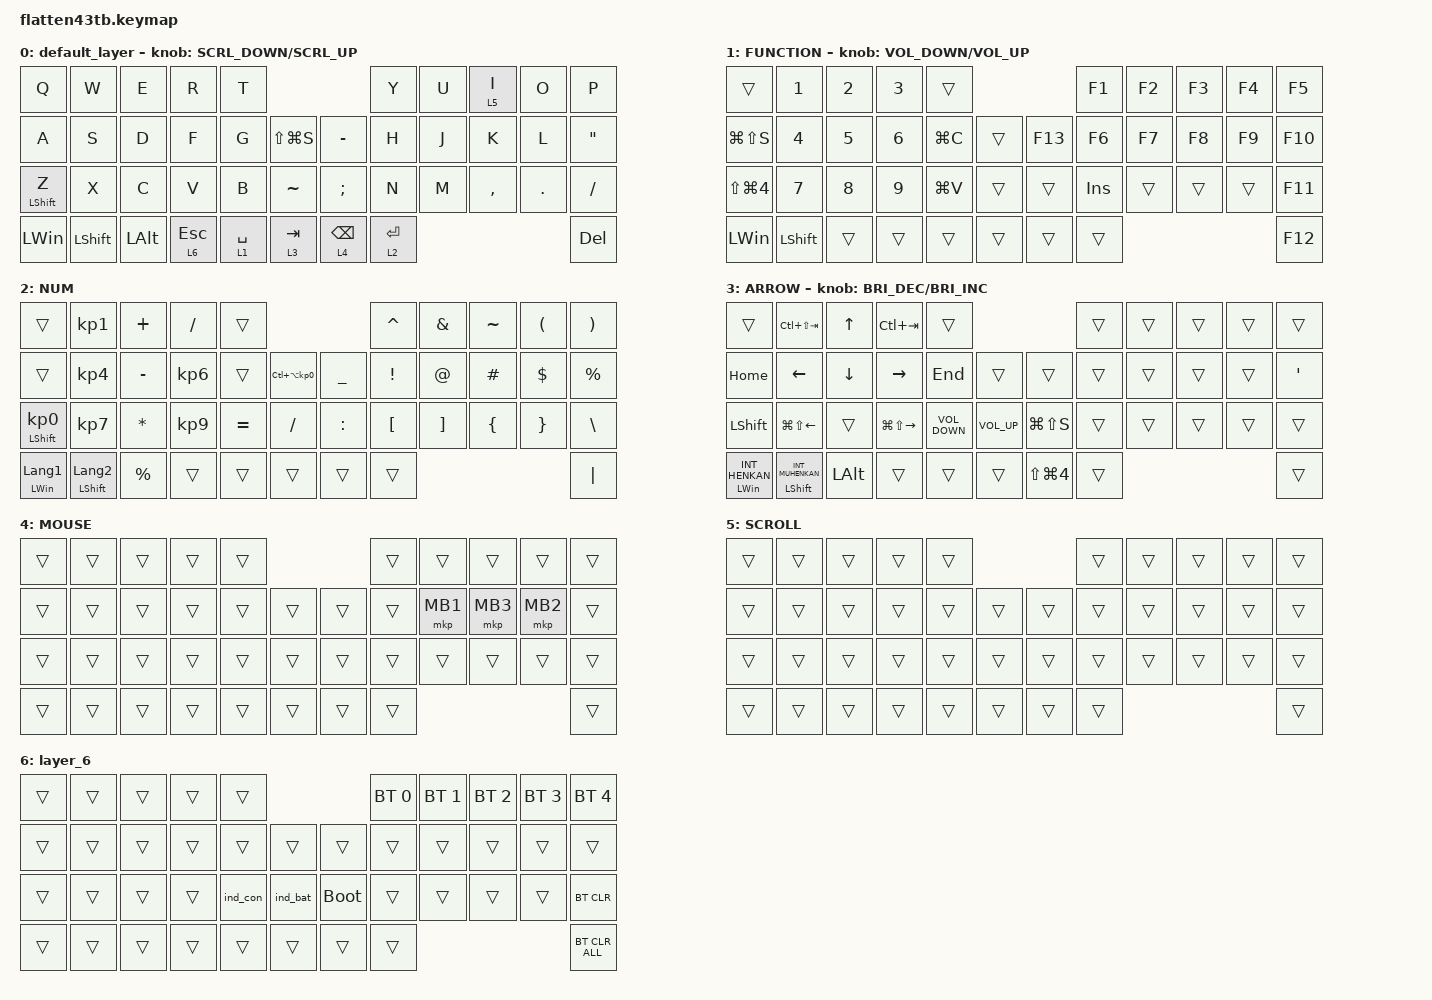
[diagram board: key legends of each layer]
#define ZMK_POINTING_DEFAULT_SCRL_VAL 150

#include <behaviors/rgbled_widget.dtsi>
#include <dt-bindings/zmk/input_transform.h>
#include <input/processors.dtsi>
#include <zephyr/dt-bindings/input/input-event-codes.h>
#include <behaviors.dtsi>
#include <dt-bindings/zmk/bt.h>
#include <dt-bindings/zmk/keys.h>
#include <dt-bindings/zmk/pointing.h>

&mt {
    flavor = "balanced";
    quick-tap-ms = <0>;
};

&mmv {
    delay-ms = <20>;
    trigger-period-ms = <5>;
    time-to-max-speed-ms = <100>;
    acceleration-exponent = <2>;
};

&msc {
    delay-ms = <3>;
    trigger-period-ms = <3>;
    time-to-max-speed-ms = <100>;
    acceleration-exponent = <0>;
};

/ {
    input_processors {
        zip_wheel_scaler: zip_wheel_scaler {
            compatible = "zmk,input-processor-scaler";
            #input-processor-cells = <2>;
            type = <INPUT_EV_REL>;
            codes = <INPUT_REL_WHEEL>;
            track-remainders;
        };
    };
};

/ {
    combos {
        compatible = "zmk,combos";

        tab {
            bindings = <&kp TAB>;
            key-positions = <11 12>;
        };

        shift_tab {
            bindings = <&kp LS(TAB)>;
            key-positions = <12 13>;
        };

        muhennkann {
            bindings = <&to_layer_0 INT_MUHENKAN>;
            key-positions = <11 10>;
        };

        double_quotation {
            bindings = <&kp DOUBLE_QUOTES>;
            key-positions = <20 21>;
        };

        eq {
            bindings = <&kp EQUAL>;
            key-positions = <24 25>;
        };
    };

    macros {
        to_layer_0: to_layer_0 {
            compatible = "zmk,behavior-macro-one-param";
            #binding-cells = <1>;
            bindings = <&to 0 &macro_param_1to1 &kp MACRO_PLACEHOLDER>;
            label = "TO_LAYER_0";
        };
    };

    behaviors {
        lt_to_layer_0: lt_to_layer_0 {
            compatible = "zmk,behavior-hold-tap";
            label = "LAYER_TAP_TO_0";
            bindings = <&mo>, <&to_layer_0>;

            #binding-cells = <2>;
            tapping-term-ms = <200>;
        };

        sensor_rotate_kp: sensor_rotate_kp {
            compatible = "zmk,behavior-sensor-rotate-var";
            #sensor-binding-cells = <2>;
            bindings = <&kp>, <&kp>;
        };

        mouse_wheel_scroll: mouse_wheel_scroll {
            compatible = "zmk,behavior-sensor-rotate-var";
            #sensor-binding-cells = <2>;
            bindings = <&msc>, <&msc>;

            tap-ms = <20>;
        };
    };

    keymap {
        compatible = "zmk,keymap";

        default_layer {
            bindings = <
&kp Q             &kp W           &kp E         &kp R                    &kp T                                                   &kp Y        &kp U  &lt 5 I    &kp O    &kp P
&kp A             &kp S           &kp D         &kp F                    &kp G        &kp LS(LG(S))             &kp MINUS        &kp H        &kp J  &kp K      &kp L    &kp DOUBLE_QUOTES
&mt LEFT_SHIFT Z  &kp X           &kp C         &kp V                    &kp B        &kp TILDE                 &kp SEMICOLON    &kp N        &kp M  &kp COMMA  &kp DOT  &kp SLASH
&kp LEFT_WIN      &kp LEFT_SHIFT  &kp LEFT_ALT  &lt_to_layer_0 6 ESCAPE  &lt 1 SPACE  &lt_to_layer_0 3 TAB      &lt 4 BACKSPACE  &lt 2 ENTER                             &kp DEL
            >;

            sensor-bindings = <&mouse_wheel_scroll SCRL_DOWN SCRL_UP>;
        };

        FUNCTION {
            bindings = <
&trans                &kp NUMBER_1    &kp NUMBER_2  &kp NUMBER_3  &trans                          &kp F1      &kp F2  &kp F3  &kp F4  &kp F5
&kp LG(LS(S))         &kp NUMBER_4    &kp NUMBER_5  &kp NUMBER_6  &kp LG(C)  &trans      &kp F13  &kp F6      &kp F7  &kp F8  &kp F9  &kp F10
&kp LS(LG(NUMBER_4))  &kp NUMBER_7    &kp NUMBER_8  &kp NUMBER_9  &kp LG(V)  &trans      &trans   &kp INSERT  &trans  &trans  &trans  &kp F11
&kp LEFT_WIN          &kp LEFT_SHIFT  &trans        &trans        &trans     &trans      &trans   &trans                              &kp F12
            >;

            sensor-bindings = <&sensor_rotate_kp C_VOLUME_DOWN C_VOLUME_UP>;
        };

        NUM {
            bindings = <
&trans                      &kp KP_NUMBER_1            &kp PLUS      &kp SLASH        &trans                                                  &kp CARET         &kp AMPERSAND      &kp TILDE       &kp LEFT_PARENTHESIS  &kp RIGHT_PARENTHESIS
&trans                      &kp KP_NUMBER_4            &kp MINUS     &kp KP_NUMBER_6  &trans     &kp LC(LA(KP_NUMBER_0))      &kp UNDERSCORE  &kp EXCLAMATION   &kp AT_SIGN        &kp HASH        &kp DOLLAR            &kp PERCENT
&mt LEFT_SHIFT KP_NUMBER_0  &kp KP_NUMBER_7            &kp ASTERISK  &kp KP_NUMBER_9  &kp EQUAL  &kp SLASH                    &kp COLON       &kp LEFT_BRACKET  &kp RIGHT_BRACKET  &kp LEFT_BRACE  &kp RIGHT_BRACE       &kp BACKSLASH
&mt LEFT_WIN LANGUAGE_1     &mt LEFT_SHIFT LANGUAGE_2  &kp PERCENT   &trans           &trans     &trans                       &trans          &trans                                                                     &kp PIPE
            >;
        };

        ARROW {
            bindings = <
&trans                   &kp LC(LS(TAB))              &kp UP_ARROW    &kp LC(TAB)              &trans                                                        &trans  &trans  &trans  &trans  &trans
&kp HOME                 &kp LEFT_ARROW               &kp DOWN_ARROW  &kp RIGHT_ARROW          &kp END            &trans               &trans                &trans  &trans  &trans  &trans  &kp SQT
&kp LEFT_SHIFT           &kp LG(LS(LEFT_ARROW))       &trans          &kp LG(LS(RIGHT_ARROW))  &kp C_VOLUME_DOWN  &kp C_VOLUME_UP      &kp LG(LS(S))         &trans  &trans  &trans  &trans  &trans
&mt LEFT_WIN INT_HENKAN  &mt LEFT_SHIFT INT_MUHENKAN  &kp LEFT_ALT    &trans                   &trans             &trans               &kp LS(LG(NUMBER_4))  &trans                          &trans
            >;

            sensor-bindings = <&inc_dec_kp C_BRIGHTNESS_DEC C_BRIGHTNESS_INC>;
        };

        MOUSE {
            bindings = <
&trans  &trans  &trans  &trans  &trans                      &trans  &trans    &trans    &trans    &trans
&trans  &trans  &trans  &trans  &trans  &trans      &trans  &trans  &mkp MB1  &mkp MB3  &mkp MB2  &trans
&trans  &trans  &trans  &trans  &trans  &trans      &trans  &trans  &trans    &trans    &trans    &trans
&trans  &trans  &trans  &trans  &trans  &trans      &trans  &trans                                &trans
            >;
        };

        SCROLL {
            bindings = <
&trans  &trans  &trans  &trans  &trans                      &trans  &trans  &trans  &trans  &trans
&trans  &trans  &trans  &trans  &trans  &trans      &trans  &trans  &trans  &trans  &trans  &trans
&trans  &trans  &trans  &trans  &trans  &trans      &trans  &trans  &trans  &trans  &trans  &trans
&trans  &trans  &trans  &trans  &trans  &trans      &trans  &trans                          &trans
            >;
        };

        layer_6 {
            bindings = <
&trans  &trans  &trans  &trans  &trans                               &bt BT_SEL 0  &bt BT_SEL 1  &bt BT_SEL 2  &bt BT_SEL 3  &bt BT_SEL 4
&trans  &trans  &trans  &trans  &trans    &trans        &trans       &trans        &trans        &trans        &trans        &trans
&trans  &trans  &trans  &trans  &ind_con  &ind_bat      &bootloader  &trans        &trans        &trans        &trans        &bt BT_CLR
&trans  &trans  &trans  &trans  &trans    &trans        &trans       &trans                                                  &bt BT_CLR_ALL
            >;
        };
    };
};
